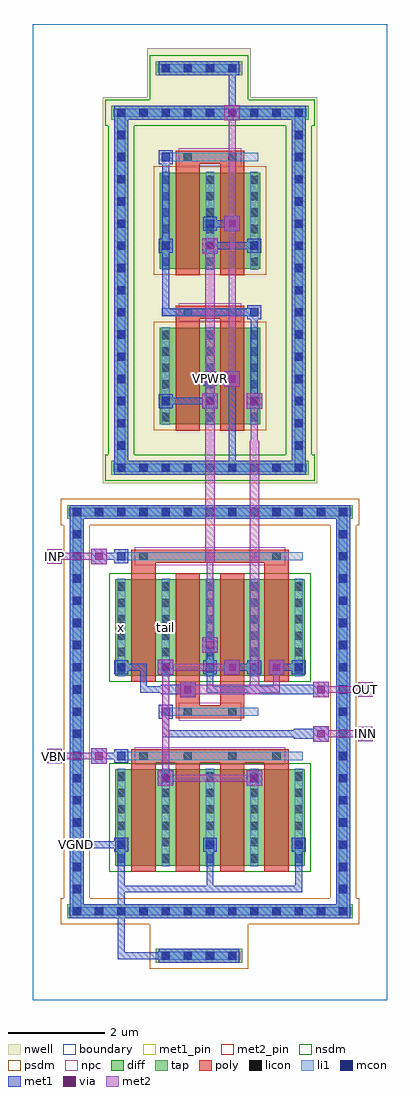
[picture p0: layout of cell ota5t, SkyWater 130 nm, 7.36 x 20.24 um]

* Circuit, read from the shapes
.subckt ota5t INN INP OUT VBN VGND VPWR tail x
XM1 tail VBN VGND VGND sky130_fd_pr__nfet_01v8 w=2 l=0.5 m=4
XM2 tail INP x VGND sky130_fd_pr__nfet_01v8 w=2 l=0.5 m=2
XM3 OUT INN tail VGND sky130_fd_pr__nfet_01v8 w=2 l=0.5 m=2
XM4 VPWR x OUT VPWR sky130_fd_pr__pfet_01v8 w=2 l=0.5 m=2
XM5 VPWR x x VPWR sky130_fd_pr__pfet_01v8 w=2 l=0.5 m=2
.ends

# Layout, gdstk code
import gdstk
lib = gdstk.Library(unit=1e-6, precision=1e-09)
def R(c, l, rs):  # rectangles x0, y0, x1, y1
    for r in rs: c.add(gdstk.rectangle(r[:2], r[2:], *l))
def A(c, l, x, y, w, h, nx, ny, dx, dy):  # array of equal rectangles
    R(c, l, [(x+i*dx, y+j*dy, x+i*dx+w, y+j*dy+h) for i in range(nx) for j in range(ny)])
nwell = (64, 20)
diff = (65, 20)
tap = (65, 44)
poly = (66, 20)
licon = (66, 44)
li1 = (67, 20)
mcon = (67, 44)
met1_pin = (68, 16)
met1 = (68, 20)
via = (68, 44)
met2_pin = (69, 16)
met2 = (69, 20)
nsdm = (93, 44)
psdm = (94, 20)
npc = (95, 20)
boundary = (235, 4)

ota5t = lib.new_cell('ota5t')
R(ota5t, nwell, [(1.455,10.715,5.905,18.725), (2.375,18.725,4.525,19.74)])
R(ota5t, diff, [(1.715,2.785,5.645,4.785), (1.715,6.725,5.645,8.725), (2.635,11.94,4.725,13.94), (2.635,15.16,4.725,17.16)])
R(ota5t, tap, [(2.555,0.775,4.345,1.065), (0.715,1.695,6.645,1.985), (0.775,1.695,1.065,10.265), (6.295,1.695,6.585,10.265), (0.715,9.975,6.645,10.265), (1.635,10.895,5.725,11.185), (1.695,10.895,1.985,18.545), (5.375,10.895,5.665,18.545), (1.635,18.255,5.725,18.545), (2.555,19.175,4.345,19.465)])
A(ota5t, poly, 2.05, 2.655, 0.5, 2.405, 4, 1, 0.92, 0)
R(ota5t, poly, [(2.05,4.925,5.31,5.195), (2.97,5.845,4.39,6.115), (2.97,5.98,3.47,8.855), (3.89,5.98,4.39,8.855), (2.05,6.595,2.55,9.2), (4.81,6.595,5.31,9.2), (2.05,9.065,5.31,9.335), (2.97,11.81,3.47,14.26), (3.89,11.81,4.39,14.26), (2.97,14.125,4.39,14.395), (2.97,15.03,3.47,17.48), (3.89,15.03,4.39,17.48), (2.97,17.345,4.39,17.615)])
A(ota5t, licon, 2.675, 0.835, 0.17, 0.17, 4, 2, 0.46, 18.4)
A(ota5t, licon, 0.835, 1.755, 0.17, 0.17, 13, 2, 0.46, 8.28)
A(ota5t, licon, 0.835, 2.215, 0.17, 0.17, 1, 17, 0, 0.46)
A(ota5t, licon, 6.355, 2.215, 0.17, 0.17, 1, 17, 0, 0.46)
A(ota5t, licon, 1.755, 2.85, 0.17, 0.17, 5, 6, 0.92, 0.34)
A(ota5t, licon, 2.215, 4.975, 0.17, 0.17, 4, 1, 0.92, 0)
A(ota5t, licon, 1.755, 6.79, 0.17, 0.17, 5, 6, 0.92, 0.34)
A(ota5t, licon, 1.755, 10.955, 0.17, 0.17, 9, 2, 0.46, 7.36)
A(ota5t, licon, 1.755, 11.415, 0.17, 0.17, 1, 15, 0, 0.46)
A(ota5t, licon, 5.435, 11.415, 0.17, 0.17, 1, 15, 0, 0.46)
A(ota5t, licon, 2.675, 12.005, 0.17, 0.17, 3, 6, 0.92, 0.34)
A(ota5t, licon, 2.675, 15.225, 0.17, 0.17, 3, 6, 0.92, 0.34)
R(ota5t, licon, [(3.135,5.895,3.305,6.065), (4.055,5.895,4.225,6.065), (2.215,9.115,2.385,9.285), (4.975,9.115,5.145,9.285), (3.135,14.175,3.305,14.345), (4.055,14.175,4.225,14.345), (3.135,17.395,3.305,17.565), (4.055,17.395,4.225,17.565)])
A(ota5t, li1, 1.755, 2.77, 0.17, 2.03, 5, 2, 0.92, 3.94)
A(ota5t, li1, 2.675, 11.925, 0.17, 2.03, 3, 2, 0.92, 3.22)
R(ota5t, li1, [(2.595,0.835,4.305,1.005), (0.755,1.755,6.605,1.925), (0.835,1.755,1.005,10.205), (6.355,1.755,6.525,10.205), (1.755,4.975,5.605,5.145), (2.675,5.895,4.685,6.065), (1.755,9.115,5.605,9.285), (0.755,10.035,6.605,10.205), (1.675,10.955,5.685,11.125), (1.755,10.955,1.925,18.485), (5.435,10.955,5.605,18.485), (2.675,14.175,4.685,14.345), (2.675,17.395,4.685,17.565), (1.675,18.315,5.685,18.485), (2.595,19.235,4.305,19.405)])
A(ota5t, mcon, 2.675, 0.835, 0.17, 0.17, 4, 2, 0.46, 18.4)
A(ota5t, mcon, 0.835, 1.755, 0.17, 0.17, 13, 2, 0.46, 8.28)
A(ota5t, mcon, 0.835, 2.215, 0.17, 0.17, 1, 5, 0, 0.46)
A(ota5t, mcon, 6.355, 2.215, 0.17, 0.17, 1, 5, 0, 0.46)
A(ota5t, mcon, 1.755, 3.135, 0.17, 0.17, 3, 2, 1.84, 9.66)
A(ota5t, mcon, 0.835, 4.515, 0.17, 0.17, 4, 1, 1.84, 0)
A(ota5t, mcon, 0.835, 4.975, 0.17, 0.17, 1, 4, 0, 0.46)
A(ota5t, mcon, 6.355, 4.975, 0.17, 0.17, 1, 4, 0, 0.46)
A(ota5t, mcon, 0.835, 6.815, 0.17, 0.17, 7, 1, 0.92, 0)
A(ota5t, mcon, 0.835, 7.275, 0.17, 0.17, 1, 6, 0, 0.46)
A(ota5t, mcon, 6.355, 7.275, 0.17, 0.17, 1, 6, 0, 0.46)
A(ota5t, mcon, 1.755, 10.955, 0.17, 0.17, 9, 2, 0.46, 7.36)
A(ota5t, mcon, 1.755, 11.415, 0.17, 0.17, 1, 3, 0, 0.46)
A(ota5t, mcon, 5.435, 11.415, 0.17, 0.17, 1, 3, 0, 0.46)
A(ota5t, mcon, 1.755, 13.255, 0.17, 0.17, 1, 6, 0, 0.46)
A(ota5t, mcon, 5.435, 13.255, 0.17, 0.17, 1, 6, 0, 0.46)
A(ota5t, mcon, 1.755, 16.015, 0.17, 0.17, 3, 1, 1.84, 0)
A(ota5t, mcon, 1.755, 16.475, 0.17, 0.17, 1, 4, 0, 0.46)
A(ota5t, mcon, 5.435, 16.475, 0.17, 0.17, 1, 4, 0, 0.46)
R(ota5t, mcon, [(1.755,4.975,1.925,5.145), (2.675,5.895,2.845,6.065), (1.755,9.115,1.925,9.285), (2.675,12.335,2.845,12.505), (4.515,12.335,4.685,12.505), (4.515,14.175,4.685,14.345), (2.675,15.555,2.845,15.725), (4.515,15.555,4.685,15.725), (2.675,17.395,2.845,17.565)])
R(ota5t, met1_pin, [(0.85,3.15,0.99,3.29), (3.535,12.735,3.825,13.025)])
A(ota5t, met1, 1.695, 3.075, 0.29, 0.29, 3, 1, 1.84, 0)
A(ota5t, met1, 1.695, 6.755, 0.29, 0.29, 5, 1, 0.92, 0)
R(ota5t, met1, [(2.615,0.775,4.285,1.065), (1.77,0.85,2.83,0.99), (1.77,0.85,1.91,3.29), (2.69,0.85,2.83,0.99), (0.775,1.695,6.585,1.985), (0.775,1.695,1.065,10.265), (6.295,1.695,6.585,10.265), (1.77,2.23,3.75,2.37), (3.61,2.23,5.59,2.37), (3.61,2.23,3.75,3.29), (5.45,2.23,5.59,3.29), (0.85,3.15,1.91,3.29), (0.85,3.15,0.99,3.29), (0.85,3.15,0.99,10.19), (2.6,4.44,2.92,4.76), (4.44,4.44,4.76,4.76), (2.615,4.455,2.905,4.745), (4.455,4.455,4.745,4.745), (1.22,4.9,1.54,5.22), (1.695,4.915,1.985,5.205), (1.31,4.99,1.91,5.13), (5.82,5.36,6.14,5.68), (5.42,5.42,6.08,5.62), (2.69,5.45,2.83,6.05), (2.69,5.45,5.59,5.59), (2.615,5.835,2.905,6.125), (3.06,6.28,3.38,6.6), (5.82,6.28,6.14,6.6), (2.66,6.34,3.32,6.54), (4.5,6.34,6.08,6.54), (2.23,6.37,2.83,6.51), (2.23,6.37,2.37,6.97), (3.61,6.37,3.75,6.97), (3.61,6.37,4.67,6.51), (2.6,6.74,2.92,7.06), (3.98,6.74,4.3,7.06), (4.9,6.74,5.22,7.06), (1.77,6.83,2.37,6.97), (3.61,6.83,3.75,7.43), (4.07,6.83,4.67,6.97), (4.99,6.83,5.59,6.97), (3.52,7.2,3.84,7.52), (1.22,9.04,1.54,9.36), (1.695,9.055,1.985,9.345), (1.31,9.13,1.91,9.27), (0.775,9.975,6.585,10.265), (0.85,10.05,0.99,10.19), (1.695,10.895,5.665,11.185), (1.695,10.895,1.985,18.545), (5.375,10.895,5.665,18.545), (4.07,10.97,4.21,12.95), (4.07,10.97,4.21,11.11), (3.52,12.26,3.84,12.58), (4.44,12.26,4.76,12.58), (2.615,12.275,2.905,12.565), (4.455,12.275,4.745,12.565), (2.69,12.35,3.75,12.49), (4.53,12.35,4.67,14.33), (3.98,12.72,4.3,13.04), (3.535,12.735,3.825,13.025), (3.61,12.81,4.21,12.95), (4.455,14.115,4.745,14.405), (2.69,14.19,4.67,14.33), (2.69,14.19,2.83,15.71), (3.52,15.48,3.84,15.8), (2.615,15.495,2.905,15.785), (4.455,15.495,4.745,15.785), (2.69,15.57,2.83,17.55), (3.61,15.57,4.67,15.71), (3.98,15.94,4.3,16.26), (3.535,15.955,3.825,16.245), (3.61,16.03,4.21,16.17), (2.615,17.335,2.905,17.625), (3.98,18.24,4.3,18.56), (1.695,18.255,5.665,18.545), (4.07,18.33,4.21,18.47), (4.07,18.33,4.21,19.39), (2.615,19.175,4.285,19.465), (4.07,19.25,4.21,19.39)])
R(ota5t, via, [(2.685,4.525,2.835,4.675), (4.525,4.525,4.675,4.675), (1.305,4.985,1.455,5.135), (5.905,5.445,6.055,5.595), (3.145,6.365,3.295,6.515), (5.905,6.365,6.055,6.515), (2.685,6.825,2.835,6.975), (4.065,6.825,4.215,6.975), (4.985,6.825,5.135,6.975), (3.605,7.285,3.755,7.435), (1.305,9.125,1.455,9.275), (3.605,12.345,3.755,12.495), (4.525,12.345,4.675,12.495), (4.065,12.805,4.215,12.955), (3.605,15.565,3.755,15.715), (4.065,16.025,4.215,16.175), (4.065,18.325,4.215,18.475)])
R(ota5t, met2_pin, [(0.31,4.91,0.61,5.21), (6.75,5.37,7.05,5.67), (6.75,6.29,7.05,6.59), (0.31,9.05,0.61,9.35)])
R(ota5t, met2, [(2.6,4.44,2.92,4.76), (4.44,4.44,4.76,4.76), (2.69,4.53,2.83,6.97), (2.69,4.53,4.67,4.67), (1.22,4.9,1.54,5.22), (0.31,4.91,0.61,5.21), (0.39,4.99,0.53,5.13), (0.39,4.99,1.45,5.13), (5.82,5.36,6.14,5.68), (6.75,5.37,7.05,5.67), (5.91,5.45,6.97,5.59), (6.83,5.45,6.97,5.59), (3.06,6.28,3.38,6.6), (5.82,6.28,6.14,6.6), (6.75,6.29,7.05,6.59), (3.12,6.34,4.7,6.54), (4.5,6.34,4.7,11.6), (4.53,6.37,5.13,6.51), (4.99,6.37,5.13,6.97), (5.91,6.37,6.97,6.51), (6.83,6.37,6.97,6.51), (2.6,6.74,2.92,7.06), (3.98,6.74,4.3,7.06), (4.9,6.74,5.22,7.06), (2.69,6.83,4.21,6.97), (3.52,7.2,3.84,7.52), (3.61,7.29,3.75,9.27), (1.22,9.04,1.54,9.36), (0.31,9.05,0.61,9.35), (3.58,9.1,3.78,12.52), (0.39,9.13,0.53,9.27), (0.39,9.13,1.45,9.27), (4.53,11.43,4.67,12.49), (3.52,12.26,3.84,12.58), (4.44,12.26,4.76,12.58), (3.58,12.32,3.78,15.74), (3.98,12.72,4.3,13.04), (4.07,12.81,4.21,16.17), (3.52,15.48,3.84,15.8), (3.98,15.94,4.3,16.26), (4.07,16.03,4.21,18.47), (3.98,18.24,4.3,18.56)])
R(ota5t, nsdm, [(1.59,2.66,5.77,4.91), (1.59,6.6,5.77,8.85), (1.51,10.77,5.85,11.31), (1.57,11.31,2.11,18.13), (5.25,11.31,5.79,18.13), (1.51,18.13,5.85,18.67), (2.43,18.67,4.47,19.59)])
R(ota5t, psdm, [(2.43,0.65,4.47,1.57), (0.59,1.57,6.77,2.11), (0.65,2.11,1.19,9.85), (6.17,2.11,6.71,9.85), (0.59,9.85,6.77,10.39), (2.51,11.815,4.85,14.065), (2.51,15.035,4.85,17.285)])
R(ota5t, npc, [(2.115,4.875,5.245,5.245), (3.035,5.795,4.325,6.165), (2.115,9.015,5.245,9.385), (3.035,14.075,4.325,14.445), (3.035,17.295,4.325,17.665)])
R(ota5t, boundary, [(0,0,7.36,20.24)])
ota5t.add(gdstk.Label('x', (1.84,7.725), layer=67, texttype=5))
ota5t.add(gdstk.Label('tail', (2.76,7.725), layer=67, texttype=5))
ota5t.add(gdstk.Label('VPWR', (3.68,12.88), layer=68, texttype=5))
ota5t.add(gdstk.Label('VGND', (0.92,3.22), layer=68, texttype=5))
ota5t.add(gdstk.Label('INP', (0.46,9.2), layer=69, texttype=5))
ota5t.add(gdstk.Label('INN', (6.9,5.52), layer=69, texttype=5))
ota5t.add(gdstk.Label('VBN', (0.46,5.06), layer=69, texttype=5))
ota5t.add(gdstk.Label('OUT', (6.9,6.44), layer=69, texttype=5))
ota5t.add(gdstk.Label('VPWR', (3.68,12.88), layer=68, texttype=16))
ota5t.add(gdstk.Label('VGND', (0.92,3.22), layer=68, texttype=16))
ota5t.add(gdstk.Label('INP', (0.46,9.2), layer=69, texttype=16))
ota5t.add(gdstk.Label('INN', (6.9,5.52), layer=69, texttype=16))
ota5t.add(gdstk.Label('VBN', (0.46,5.06), layer=69, texttype=16))
ota5t.add(gdstk.Label('OUT', (6.9,6.44), layer=69, texttype=16))

lib.write_gds('ota5t.gds')
